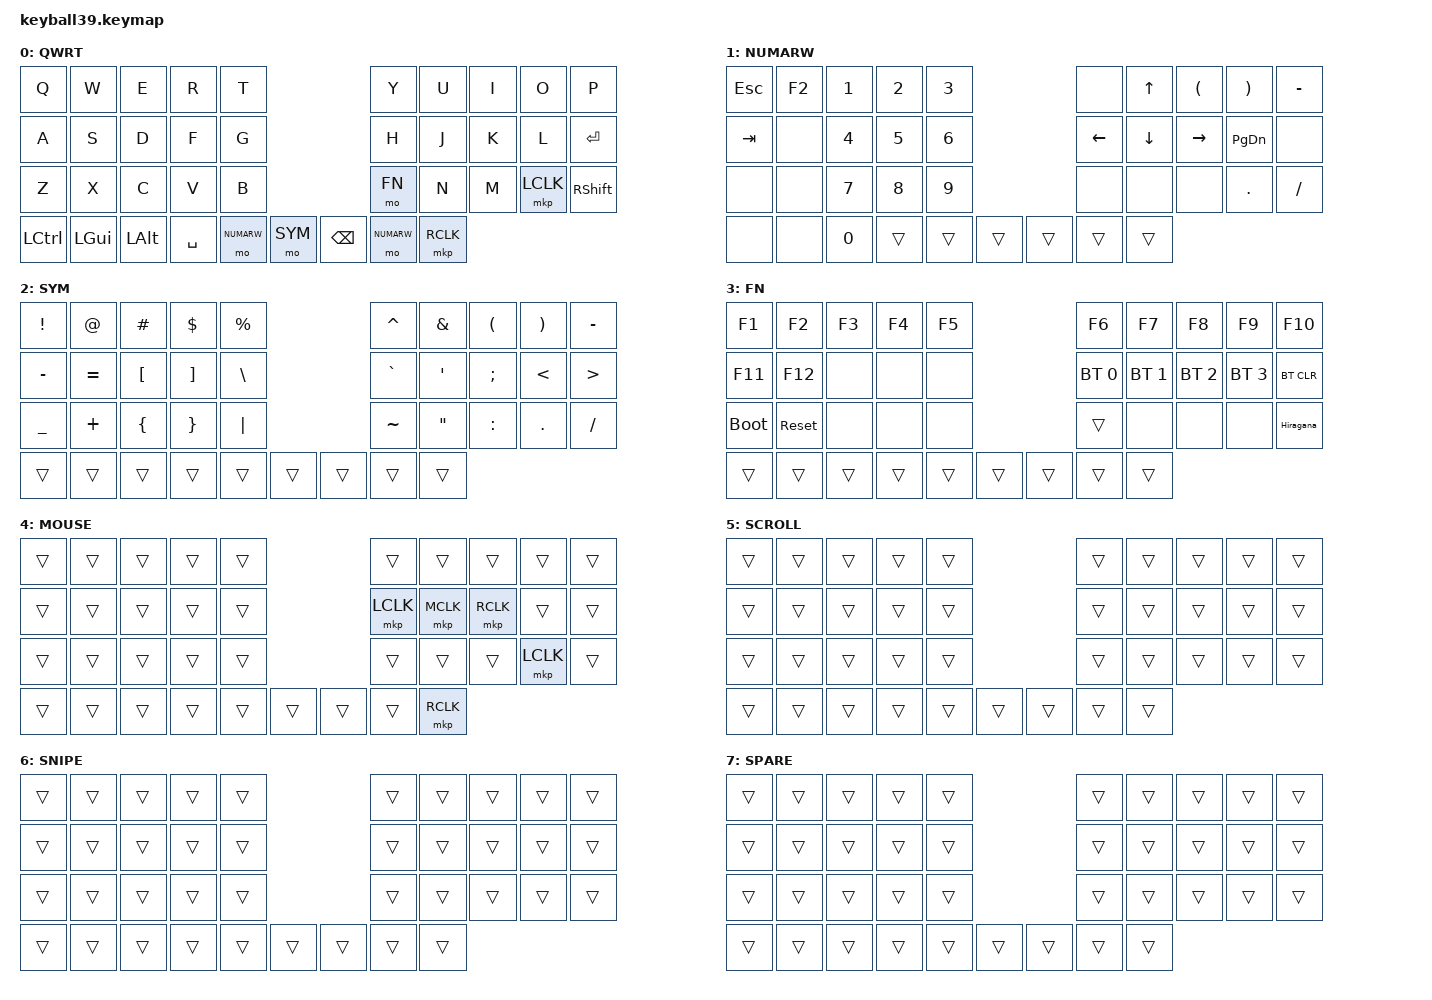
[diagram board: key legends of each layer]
#define DEFAULT 0
#define NUMARW  1
#define SYM     2
#define FN      3
#define MOUSE   4
#define SCROLL  5
#define SNIPE   6
#define SPARE   7

#include <behaviors/mouse_keys.dtsi>
#include <dt-bindings/zmk/mouse.h>
#include <behaviors.dtsi>
#include <dt-bindings/zmk/bt.h>
#include <dt-bindings/zmk/outputs.h>
#include <dt-bindings/zmk/keys.h>

&lt {
    tapping-term-ms = <240>;
    flavor = "balanced";
    quick-tap-ms = <150>;
};

&mt {
    tapping-term-ms = <200>;
    flavor = "tap-preferred";
    quick-tap-ms = <150>;
};

&caps_word { continue-list = <UNDERSCORE MINUS>; };

/ {
    macros {
        Hiragana: Hiragana {
            compatible = "zmk,behavior-macro";
            #binding-cells = <0>;
            bindings = <&kp LC(SPACE)>;
            label = "HIRAGANA";
        };
    };


    keymap {
        compatible = "zmk,keymap";

        default_layer {
            label = "QWRT";
            bindings = <
&kp Q      &kp W     &kp E    &kp R    &kp T                              &kp Y     &kp U     &kp I     &kp O        &kp P
&kp A      &kp S     &kp D    &kp F    &kp G                              &kp H     &kp J     &kp K     &kp L        &kp ENTER
&kp Z      &kp X     &kp C    &kp V    &kp B                              &mo FN      &kp N     &kp M  &mkp LCLK  &kp RSHFT
&kp LCTRL  &kp LGUI  &kp LALT  &kp SPACE  &mo NUMARW  &mo SYM  &kp BSPC    &mo NUMARW   &mkp RCLK
            >;
        };

        numarw_layer {
            label = "NUMARW";
            bindings = <
&kp ESC  &kp F2  &kp N1  &kp N2  &kp N3                          &none     &kp UP    &kp LPAR      &kp RPAR  &kp MINUS
&kp TAB  &none  &kp N4 &kp N5  &kp N6                      &kp LEFT  &kp DOWN  &kp RIGHT  &kp PG_DN  &none
&none  &none  &kp N7  &kp N8     &kp N9                         &none   &none  &none    &kp DOT      &kp SLASH
&none  &none  &kp N0  &trans     &trans        &trans     &trans   &trans    &trans
            >;
        };

        symbol_layer {
            label = "SYM";
            bindings = <
&kp EXCL   &kp AT     &kp HASH  &kp DLLR  &kp PRCNT                     &kp CARET  &kp AMPS  &kp LPAR   &kp RPAR  &kp MINUS
&kp MINUS  &kp EQUAL  &kp LBKT  &kp RBKT  &kp BSLH                      &kp GRAVE  &kp SQT   &kp SEMI   &kp LT    &kp GT
&kp UNDER  &kp PLUS   &kp LBRC  &kp RBRC  &kp PIPE                      &kp TILDE  &kp DQT   &kp COLON  &kp DOT   &kp SLASH
&trans     &trans     &trans    &trans    &trans    &trans     &trans   &trans     &trans
            >;
        };

        fn_layer {
            label = "FN";
            bindings = <
&kp F1       &kp F2      &kp F3  &kp F4  &kp F5                         &kp F6        &kp F7        &kp F8        &kp F9        &kp F10
&kp F11      &kp F12     &none   &none   &none                          &bt BT_SEL 0  &bt BT_SEL 1  &bt BT_SEL 2  &bt BT_SEL 3  &bt BT_CLR
&bootloader  &sys_reset  &none   &none   &none                          &trans  &none         &none         &none         &Hiragana
&trans       &trans      &trans  &trans  &trans   &trans     &trans     &trans        &trans
            >;
        };

        mouse_layer {
            label = "MOUSE";
            bindings = <
&trans  &trans  &trans  &trans  &trans                      &trans     &trans     &trans     &trans  &trans
&trans  &trans  &trans  &trans  &trans                      &mkp LCLK  &mkp MCLK  &mkp RCLK  &trans  &trans
&trans  &trans  &trans  &trans  &trans                      &trans     &trans     &trans     &mkp LCLK  &trans
&trans  &trans  &trans  &trans  &trans  &trans     &trans   &trans     &mkp RCLK
            >;
        };

        scroll_layer {
            label = "SCROLL";
            bindings = <
&trans  &trans  &trans  &trans  &trans                      &trans  &trans  &trans  &trans  &trans
&trans  &trans  &trans  &trans  &trans                      &trans  &trans  &trans  &trans       &trans
&trans  &trans  &trans  &trans  &trans                      &trans  &trans  &trans  &trans       &trans
&trans  &trans  &trans  &trans  &trans  &trans     &trans   &trans  &trans
            >;
        };

        snipe_layer {
            label = "SNIPE";
            bindings = <
&trans  &trans  &trans  &trans  &trans                      &trans  &trans  &trans  &trans  &trans
&trans  &trans  &trans  &trans  &trans                      &trans  &trans  &trans  &trans  &trans
&trans  &trans  &trans  &trans  &trans                      &trans  &trans  &trans  &trans  &trans
&trans  &trans  &trans  &trans  &trans  &trans     &trans   &trans  &trans
            >;
        };

        spare_layer {
            label = "SPARE";
            bindings = <
&trans  &trans  &trans  &trans  &trans                      &trans  &trans  &trans  &trans  &trans
&trans  &trans  &trans  &trans  &trans                      &trans  &trans  &trans  &trans  &trans
&trans  &trans  &trans  &trans  &trans                      &trans  &trans  &trans  &trans  &trans
&trans  &trans  &trans  &trans  &trans  &trans     &trans   &trans  &trans
            >;
        };
    };
};
